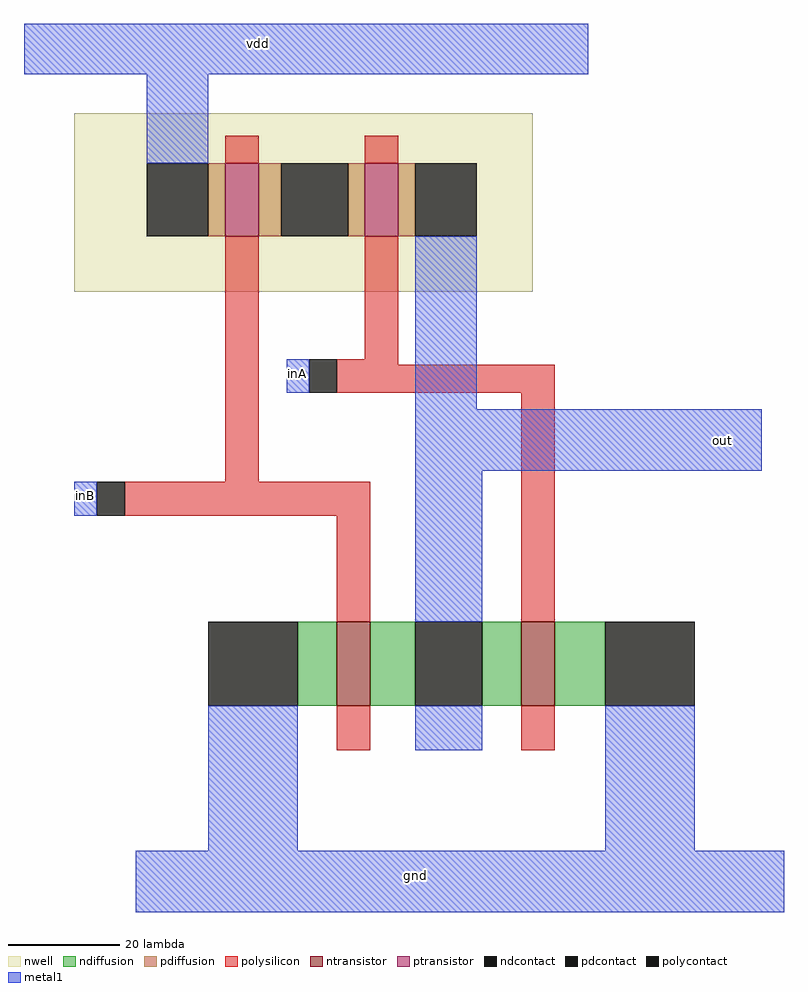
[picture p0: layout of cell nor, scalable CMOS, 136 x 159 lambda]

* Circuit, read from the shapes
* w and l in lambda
.subckt nor gnd inA inB out vdd
M1 out inB gnd VSUBS nfet w=15 l=6
M2 gnd inA out VSUBS nfet w=15 l=6
M3 n1 inB vdd n2 pfet w=13 l=6
M4 out inA n1 n2 pfet w=13 l=6
.ends

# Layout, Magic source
magic
tech scmos
<< nwell >>
rect -47 2 35 34
<< ntransistor >>
rect 0 -72 6 -57
rect 33 -72 39 -57
<< ptransistor >>
rect -20 12 -14 25
rect 5 12 11 25
<< ndiffusion >>
rect -7 -72 0 -57
rect 6 -72 14 -57
rect 26 -72 33 -57
rect 39 -72 48 -57
<< pdiffusion >>
rect -23 12 -20 25
rect -14 12 -10 25
rect 2 12 5 25
rect 11 12 14 25
<< ndcontact >>
rect -23 -72 -7 -57
rect 14 -72 26 -57
rect 48 -72 64 -57
<< pdcontact >>
rect -34 12 -23 25
rect -10 12 2 25
rect 14 12 25 25
<< polysilicon >>
rect -20 25 -14 30
rect 5 25 11 30
rect -20 -32 -14 12
rect 5 -10 11 12
rect 0 -11 11 -10
rect 0 -16 39 -11
rect -38 -38 6 -32
rect 0 -57 6 -38
rect 33 -57 39 -16
rect 0 -80 6 -72
rect 33 -80 39 -72
<< polycontact >>
rect -5 -16 0 -10
rect -43 -38 -38 -32
<< metal1 >>
rect -56 41 45 50
rect -34 25 -23 41
rect -9 -16 -5 -10
rect 14 -19 25 12
rect 14 -30 76 -19
rect -47 -38 -43 -32
rect 14 -57 26 -30
rect -23 -98 -7 -72
rect 14 -80 26 -72
rect 48 -98 64 -72
rect -36 -109 80 -98
<< labels >>
rlabel metal1 -15 45 -13 48 5 vdd
rlabel metal1 13 -104 15 -101 1 gnd
rlabel metal1 68 -26 70 -23 1 out
rlabel metal1 -8 -14 -6 -11 1 inA
rlabel metal1 -46 -36 -44 -33 1 inB
<< end >>
